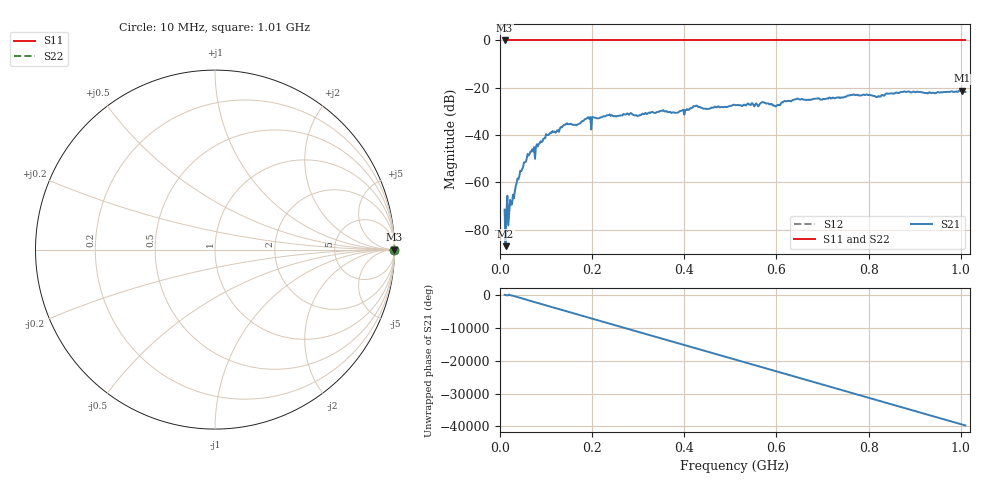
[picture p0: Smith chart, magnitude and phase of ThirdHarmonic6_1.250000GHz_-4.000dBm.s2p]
! 8/16/2025 1:21:02 PM
! C:\ANRITSUVNA\TEMP\TEMP.S2P
! CHANNEL.1
! TR.MEASUREMENT
! RAW.DATA
! RF.CORRECTION.OFF
! AVERAGING.OFF
! IF.BANDWIDTH: 5KHZ
! SWEEPTYPE:  FREQ.SWEEP(Linear)
! Reference Plane Port Info
! PORT:  PORT1  PORT2
! DISTANCE:  0  m  0  m
! TIME:  0  s  0  s
! PHASE.OFFSET:  0  deg.  0  deg.
! LOSS:  0  dB  0  dB
! REF.LOSS:  0  dB  0  dB
! REF.FREQ:  0  Hz  0  Hz
! Power Info
! POWER:  -20  dBm  -20  dBm
! EFF.POWER:  -20  dBm  -20  dBm
! SOURCE.ATTEN:  0  dB  0  dB
! TEST.ATTEN:  0  dB  0  dB
# GHZ S RI R 50.0
! FREQ.GHZ  S11RE  S11IM  S21RE  S21IM  S12RE  S12IM  S22RE  S22IM
!; PortSelection: Port_12
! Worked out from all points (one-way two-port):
!   501 points, 10 MHz to 1.01 GHz, reference 50 ohm
!   highest |S21| = -21.21 dB at 1.002 GHz (marker M1); lowest = -87.1 dB at 12 MHz (marker M2)
!   lowest |S11| = 0.0 dB at 10 MHz (marker M3)
!   |S11| at or under -10 dB: nowhere
!   |S22| runs from 0.0 to 0.0 dB; largest |S21 - S12| = 1.1
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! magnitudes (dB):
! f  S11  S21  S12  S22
! 10 MHz  0.0  -71.6  0.0  0.0
! 12 MHz  0.0  -87.1  0.0  0.0
! 16 MHz  0.0  -65.7  0.0  0.0
! 18 MHz  0.0  -78.2  0.0  0.0
! 22 MHz  0.0  -67.5  0.0  0.0
! 40 MHz  0.0  -58.7  0.0  0.0
! 64 MHz  0.0  -48.2  0.0  0.0
! 104 MHz  0.0  -40.1  0.0  0.0
! 142 MHz  0.0  -35.6  0.0  0.0
! 178 MHz  0.0  -34.1  0.0  0.0
! 234 MHz  0.0  -31.7  0.0  0.0
! 344 MHz  0.0  -30.2  0.0  0.0
! 382 MHz  0.0  -30.6  0.0  0.0
! 424 MHz  0.0  -27.8  0.0  0.0
! 510 MHz  0.0  -27.3  0.0  0.0
! 572 MHz  0.0  -26.1  0.0  0.0
! 596 MHz  0.0  -27.6  0.0  0.0
! 642 MHz  0.0  -24.9  0.0  0.0
! 678 MHz  0.0  -24.9  0.0  0.0
! 844 MHz  0.0  -22.5  0.0  0.0
! 1.002 GHz  0.0  -21.2  0.0  0.0
! 1.01 GHz  0.0  -21.7  0.0  0.0
